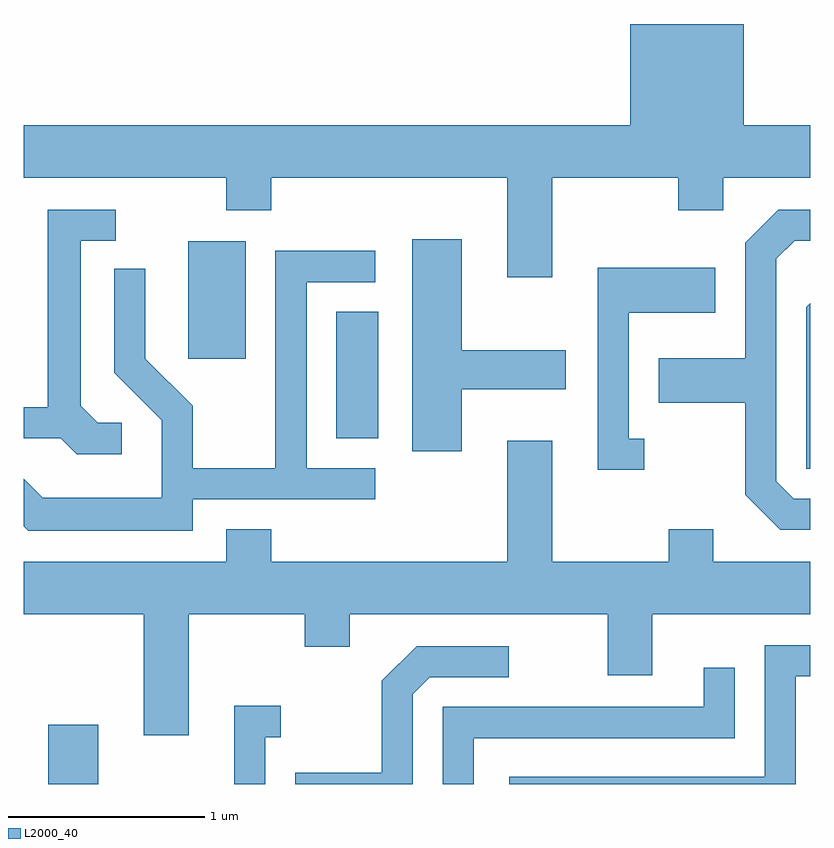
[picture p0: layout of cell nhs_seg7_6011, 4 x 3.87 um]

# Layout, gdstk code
import gdstk
lib = gdstk.Library(unit=1e-6, precision=1e-09)
def R(c, l, rs):  # rectangles x0, y0, x1, y1
    for r in rs: c.add(gdstk.rectangle(r[:2], r[2:], *l))
def P(c, l, *ps):  # polygons
    for p in ps: c.add(gdstk.Polygon(p, *l))
L2000_40 = (2000, 40)

nhs_seg7_6011 = lib.new_cell('nhs_seg7_6011')
R(nhs_seg7_6011, L2000_40, [(367.736,1802.252,367.989,1802.554), (369.201,1804.011,369.414,1804.654), (368.446,1804.416,368.739,1805.014)])
P(nhs_seg7_6011, L2000_40, [(370.299,1805.336),(370.941,1805.336),(370.941,1805.171),(371.169,1805.171),(371.169,1805.336),(371.611,1805.336),(371.611,1805.604),(371.274,1805.604),(371.274,1806.119),(370.696,1806.119),(370.696,1805.604),(367.611,1805.604),(367.611,1805.336),(368.641,1805.336),(368.641,1805.171),(368.869,1805.171),(368.869,1805.336),(370.071,1805.336),(370.071,1804.831),(370.299,1804.831)],
  [(371.611,1803.704),(371.527,1803.704),(371.439,1803.792),(371.439,1804.924),(371.532,1805.016),(371.611,1805.016),(371.611,1805.174),(371.449,1805.174),(371.281,1805.007),(371.281,1804.419),(370.841,1804.419),(370.841,1804.191),(371.281,1804.191),(371.281,1803.724),(371.459,1803.546),(371.611,1803.546)],
  [(368.108,1804.089),(367.987,1804.089),(367.899,1804.177),(367.899,1805.016),(368.078,1805.016),(368.078,1805.174),(367.731,1805.174),(367.731,1804.169),(367.611,1804.169),(367.611,1804.011),(367.799,1804.011),(367.879,1803.931),(368.108,1803.931)],
  [(369.839,1804.261),(370.369,1804.261),(370.369,1804.459),(369.839,1804.459),(369.839,1805.024),(369.586,1805.024),(369.586,1803.946),(369.839,1803.946)],
  [(368.469,1803.701),(369.398,1803.701),(369.398,1803.859),(369.049,1803.859),(369.049,1804.806),(369.398,1804.806),(369.398,1804.964),(368.891,1804.964),(368.891,1803.859),(368.469,1803.859),(368.469,1804.177),(368.229,1804.417),(368.229,1804.873),(368.071,1804.873),(368.071,1804.344),(368.311,1804.104),(368.311,1803.709),(367.707,1803.709),(367.611,1803.805),(367.611,1803.564),(367.634,1803.541),(368.469,1803.541)],
  [(370.768,1804.009),(370.689,1804.009),(370.689,1804.651),(371.129,1804.651),(371.129,1804.879),(370.531,1804.879),(370.531,1803.851),(370.768,1803.851)],
  [(371.611,1804.697),(371.591,1804.677),(371.591,1803.856),(371.611,1803.856)],
  [(368.449,1803.116),(369.041,1803.116),(369.041,1802.951),(369.269,1802.951),(369.269,1803.116),(370.581,1803.116),(370.581,1802.806),(370.809,1802.806),(370.809,1803.116),(371.611,1803.116),(371.611,1803.384),(371.119,1803.384),(371.119,1803.549),(370.891,1803.549),(370.891,1803.384),(370.299,1803.384),(370.299,1803.999),(370.071,1803.999),(370.071,1803.384),(368.869,1803.384),(368.869,1803.549),(368.641,1803.549),(368.641,1803.384),(367.611,1803.384),(367.611,1803.116),(368.221,1803.116),(368.221,1802.501),(368.449,1802.501)],
  [(371.539,1802.801),(371.611,1802.801),(371.611,1802.959),(371.381,1802.959),(371.381,1802.289),(370.081,1802.289),(370.081,1802.252),(371.539,1802.252)],
  [(369.589,1802.709),(369.677,1802.796),(370.078,1802.796),(370.078,1802.954),(369.609,1802.954),(369.431,1802.777),(369.431,1802.309),(368.991,1802.309),(368.991,1802.252),(369.589,1802.252)],
  [(369.899,1802.486),(371.229,1802.486),(371.229,1802.843),(371.071,1802.843),(371.071,1802.644),(369.741,1802.644),(369.741,1802.252),(369.899,1802.252)],
  [(368.839,1802.491),(368.918,1802.491),(368.918,1802.649),(368.681,1802.649),(368.681,1802.252),(368.839,1802.252)])

lib.write_gds('nhs_seg7_6011.gds')
